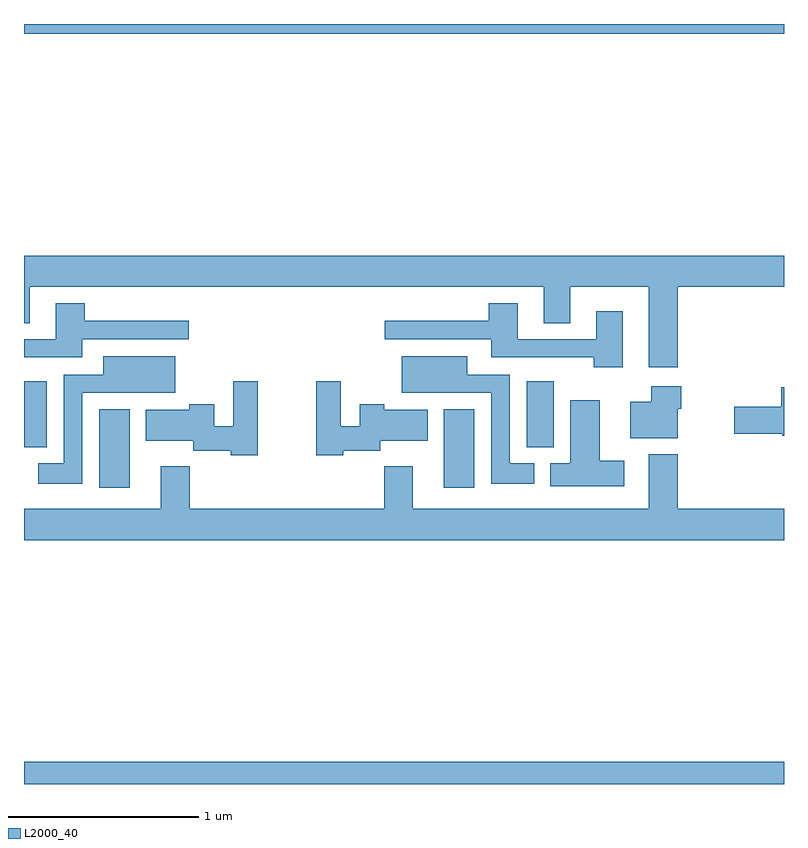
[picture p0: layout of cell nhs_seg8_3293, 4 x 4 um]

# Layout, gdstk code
import gdstk
lib = gdstk.Library(unit=1e-6, precision=1e-09)
def R(c, l, rs):  # rectangles x0, y0, x1, y1
    for r in rs: c.add(gdstk.rectangle(r[:2], r[2:], *l))
def P(c, l, *ps):  # polygons
    for p in ps: c.add(gdstk.Polygon(p, *l))
L2000_40 = (2000, 40)

nhs_seg8_3293 = lib.new_cell('nhs_seg8_3293')
R(nhs_seg8_3293, L2000_40, [(315,1097.9,319,1098.016), (315.395,1099.458,315.556,1099.873), (317.21,1099.458,317.371,1099.873), (315,1099.673,315.121,1100.02), (317.645,1099.673,317.788,1100.02), (315,1101.848,319,1101.9)])
P(nhs_seg8_3293, L2000_40, [(318.44,1100.516),(319,1100.516),(319,1100.68),(315,1100.68),(315,1100.326),(315.031,1100.326),(315.031,1100.516),(317.735,1100.516),(317.735,1100.326),(317.875,1100.326),(317.875,1100.516),(318.287,1100.516),(318.287,1100.094),(318.44,1100.094)],
  [(315.307,1100.241),(315.868,1100.241),(315.868,1100.338),(315.32,1100.338),(315.32,1100.431),(315.167,1100.431),(315.167,1100.241),(315,1100.241),(315,1100.145),(315.307,1100.145)],
  [(318.151,1100.389),(318.011,1100.389),(318.011,1100.241),(317.599,1100.241),(317.599,1100.431),(317.447,1100.431),(317.447,1100.338),(316.899,1100.338),(316.899,1100.241),(317.459,1100.241),(317.459,1100.145),(317.999,1100.145),(317.999,1100.094),(318.151,1100.094)],
  [(317.685,1099.588),(317.556,1099.588),(317.556,1100.055),(317.332,1100.055),(317.332,1100.152),(316.988,1100.152),(316.988,1099.958),(317.214,1099.958),(317.214,1099.959),(317.46,1099.959),(317.46,1099.481),(317.685,1099.481)],
  [(315.306,1099.959),(315.552,1099.959),(315.552,1099.958),(315.796,1099.958),(315.796,1100.152),(315.416,1100.152),(315.416,1100.055),(315.21,1100.055),(315.21,1099.588),(315.075,1099.588),(315.075,1099.481),(315.306,1099.481)],
  [(316.23,1100.02),(316.1,1100.02),(316.1,1099.784),(316,1099.784),(316,1099.9),(315.871,1099.9),(315.871,1099.87),(315.641,1099.87),(315.641,1099.706),(315.89,1099.706),(315.89,1099.654),(316.088,1099.654),(316.088,1099.631),(316.23,1099.631)],
  [(316.679,1099.654),(316.876,1099.654),(316.876,1099.706),(317.125,1099.706),(317.125,1099.87),(316.896,1099.87),(316.896,1099.9),(316.766,1099.9),(316.766,1099.784),(316.666,1099.784),(316.666,1100.02),(316.537,1100.02),(316.537,1099.631),(316.679,1099.631)],
  [(318.442,1099.875),(318.46,1099.875),(318.46,1099.993),(318.302,1099.993),(318.302,1099.912),(318.191,1099.912),(318.191,1099.721),(318.442,1099.721)],
  [(319,1099.987),(318.986,1099.987),(318.986,1099.886),(318.738,1099.886),(318.738,1099.744),(318.99,1099.744),(318.99,1099.733),(319,1099.733)],
  [(318.16,1099.601),(318.031,1099.601),(318.031,1099.921),(317.876,1099.921),(317.876,1099.588),(317.77,1099.588),(317.77,1099.466),(318.16,1099.466)],
  [(319,1099.348),(318.44,1099.348),(318.44,1099.636),(318.287,1099.636),(318.287,1099.348),(317.047,1099.348),(317.047,1099.573),(316.895,1099.573),(316.895,1099.348),(315.872,1099.348),(315.872,1099.573),(315.719,1099.573),(315.719,1099.348),(315,1099.348),(315,1099.184),(319,1099.184)])

lib.write_gds('nhs_seg8_3293.gds')
